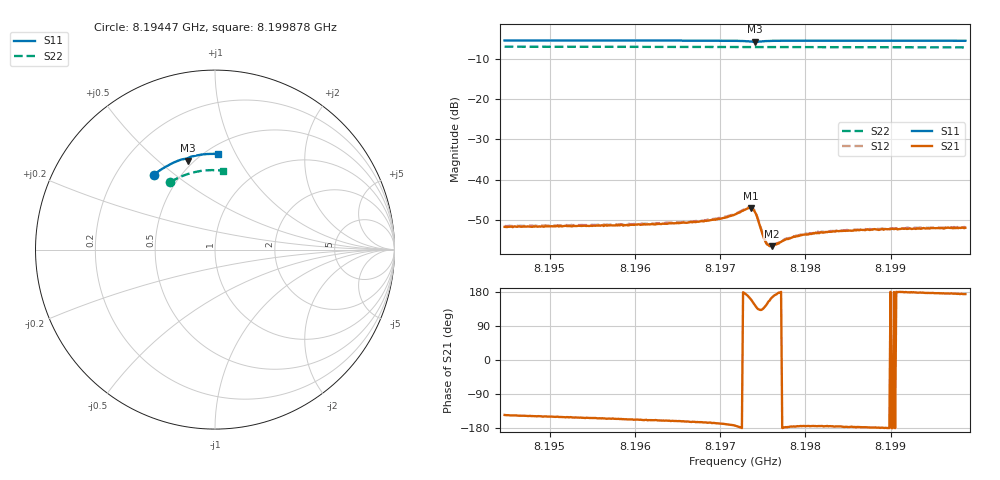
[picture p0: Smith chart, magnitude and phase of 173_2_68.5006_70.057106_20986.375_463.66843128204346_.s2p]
#  HZ  S  RI  R  50.00
! Rohde & Schwarz Vector Network Analyzer
! Rohde-Schwarz,ZNB20-2Port,1311601062101988,3.16
! Created: UTC 3/20/2024, 5:11:25 PM
! freq[Hz]  re:S11  im:S11  re:S21  im:S21  re:S12  im:S12  re:S22  im:S22
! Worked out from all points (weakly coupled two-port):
!   401 points, 8.19447 GHz to 8.199878 GHz, reference 50 ohm
!   highest |S21| = -47.04 dB at 8.197364 GHz (marker M1); lowest = -56.5 dB at 8.197607 GHz (marker M2)
!   lowest |S11| = -5.7 dB at 8.197404 GHz (marker M3), VSWR 3.15, Z = 23.3 + j31.5 ohm
!   |S11| at or under -10 dB: nowhere
!   |S22| runs from -7.1 to -6.9 dB; largest |S21 - S12| = 0.00023
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8.1944704e9  -0.3386 0.4184  -0.00212 -0.00148  -0.00228 -0.00141  -0.2492 0.3751
8.1953762e9  -0.2861 0.4552  -0.00236 -0.00123  -0.00246 -0.00118  -0.2048 0.3996
8.196282e9  -0.2293 0.4852  -0.00264 -0.000985  -0.00273 -0.000885  -0.1576 0.4189
8.1968093e9  -0.1936 0.4997  -0.00292 -0.000789  -0.00302 -0.00071  -0.1293 0.4276
8.1970256e9  -0.1774 0.5045  -0.00325 -0.000673  -0.00335 -0.00056  -0.1174 0.4308
8.1971743e9  -0.1651 0.5066  -0.00366 -0.000434  -0.00373 -0.000291  -0.1091 0.4325
8.1973095e9  -0.1521 0.5039  -0.00429 0.000586  -0.00433 0.000756  -0.1017 0.4339
8.1973636e9  -0.1491 0.4987  -0.00416 0.00158  -0.00415 0.00174  -0.0987 0.4345
8.1974042e9  -0.1512 0.4953  -0.00333 0.00226  -0.00332 0.00247  -0.0967 0.4348
8.1974312e9  -0.154 0.495  -0.00258 0.00237  -0.00252 0.0025  -0.0953 0.4351
8.1974988e9  -0.1566 0.5016  -0.00145 0.00148  -0.00145 0.00158  -0.0915 0.4358
8.1975258e9  -0.1556 0.5046  -0.00135 0.00111  -0.00134 0.0012  -0.09 0.4362
8.1975394e9  -0.1547 0.5057  -0.00132 0.000942  -0.00133 0.00101  -0.0894 0.4363
8.1975664e9  -0.1528 0.5078  -0.00139 0.000673  -0.00132 0.000764  -0.088 0.4365
8.197607e9  -0.1496 0.5105  -0.00144 0.000393  -0.00144 0.000458  -0.0856 0.4371
8.197661e9  -0.1452 0.513  -0.00155 0.00018  -0.00161 0.000211  -0.0826 0.4377
8.1977557e9  -0.1377 0.5162  -0.00178 -7.23e-05  -0.00182 1.87e-05  -0.0772 0.4384
8.1978774e9  -0.1283 0.5191  -0.00194 -0.000146  -0.00196 -9.87e-05  -0.0705 0.4395
8.1980801e9  -0.1134 0.5228  -0.00212 -0.000206  -0.00214 -0.000152  -0.059 0.4407
8.1983911e9  -0.091 0.527  -0.00227 -0.000187  -0.00234 -9.48e-05  -0.0415 0.4422
8.198986e9  -0.0486 0.532  -0.00242 -1.99e-05  -0.00246 0.000108  -0.0077 0.4429
8.1998783e9  0.0148 0.533  -0.00251 0.000263  -0.00251 0.000379  0.0431 0.4391
